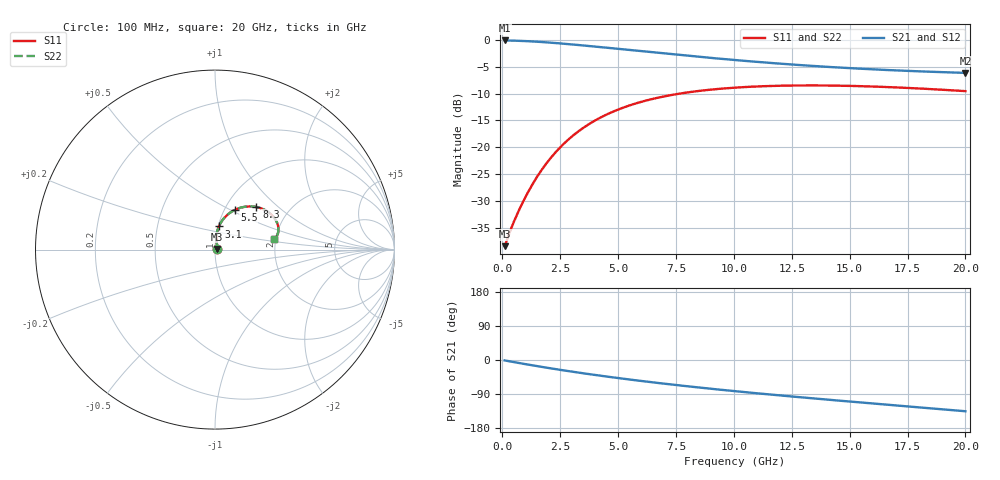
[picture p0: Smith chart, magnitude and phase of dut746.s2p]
! Touchstone file exported from HFSS 2024.1.0
!  File:  C:/UserFiles/LocalFiles/RDL_TSV_Batchsim/temp_RDL_TSV_746_1779896615.aedt
!  Generated:  11:58:22 PM May 27, 2026
!  Design:  RDL_TSV
!  Project:  temp_RDL_TSV_746_1779896615
!  Setup:  Setup1
!  Solution:  Sweep
! Variables:
!  dtsv = 6.9um
!  hbump = 3um
!  htsv = 50.21um
!  ldown = 380.02um
!  lrdl = 228.66um
!  p = 40
!  p1 = 42.73um
!  rhole = 10um
!  subl = 2054.7um
!  t = 450um
!  tdown = 4.31um
!  trdl = 3.46um
!  viad = 10um
!  wdown = 18.46um
!  wrdl = 17.9um
!  xbump = 18um
# GHz S MA R 50.000000
! Terminal data exported
! Port[1] = TM1_1_T1
! Port[2] = TM1_4_T1
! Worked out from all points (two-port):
!   200 points, 100 MHz to 20 GHz, reference 50 ohm
!   highest |S21| = -0.10 dB at 100 MHz (marker M1); lowest = -6.1 dB at 20 GHz (marker M2)
!   |S21| within 3 dB of the highest: start of sweep to 8.39 GHz
!   lowest |S11| = -38.4 dB at 100 MHz (marker M3), VSWR 1.02, Z = 51.2 + j0.369 ohm
!   |S11| at or under -10 dB: start of sweep to 7.661 GHz
!   |S22| runs from -38.4 to -8.5 dB; largest |S21 - S12| = 1e-14
!   S11 on the Smith chart (normalised r, x): 100 MHz: 1.02, +0.01; 3.1 GHz: 1.01, +0.27; 5.5 GHz: 1.11, +0.52; 8.3 GHz: 1.38, +0.73; 20 GHz: 1.95, +0.26
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0.1  0.01201 17.5  0.9884 -1.1  0.9884 -1.1  0.01201 17.5
! Gamma 0 0 0 0
! Port Impedance 50 0 50 0
0.4  0.01793 47.7  0.9855 -4.4  0.9855 -4.4  0.01793 47.7
0.7  0.02539 62.9  0.9811 -7.7  0.9811 -7.7  0.02539 62.9
1  0.03443 72.4  0.9752 -10.9  0.9752 -10.9  0.03443 72.5
1.4  0.04897 79.6  0.9651 -15.1  0.9651 -15.1  0.04897 79.6
1.8  0.06598 82.8  0.9528 -19.2  0.9528 -19.2  0.06599 82.8
2.2  0.08488 83.5  0.9389 -23.1  0.9389 -23.1  0.0849 83.6
2.6  0.105 82.7  0.9238 -26.9  0.9238 -26.9  0.105 82.8
3.1  0.131 80.5  0.904 -31.5  0.904 -31.5  0.131 80.5
3.5  0.1519 78.1  0.8877 -35.1  0.8877 -35.1  0.1519 78.1
3.9  0.1723 75.3  0.8713 -38.6  0.8713 -38.6  0.1724 75.4
4.4  0.1969 71.8  0.8506 -42.8  0.8506 -42.8  0.197 71.8
4.9  0.2201 68.1  0.8301 -46.8  0.8301 -46.8  0.2202 68.1
5.5  0.2457 63.7  0.8058 -51.5  0.8058 -51.5  0.2458 63.7
6.8  0.2921 54.8  0.7555 -61.1  0.7555 -61.1  0.2922 54.8
8.3  0.331 45.7  0.7027 -71.3  0.7027 -71.3  0.3311 45.7
10.1  0.36 36.5  0.6481 -82.6  0.6481 -82.6  0.3601 36.5
11.7  0.373 29.6  0.6077 -91.8  0.6077 -91.8  0.3731 29.6
13.4  0.3768 23.5  0.5726 -101.2  0.5726 -101.2  0.3769 23.6
15  0.3732 18.8  0.546 -109.6  0.546 -109.6  0.3732 18.8
16.7  0.3635 14.8  0.5235 -118.4  0.5235 -118.4  0.3634 14.9
20  0.3335 10.2  0.4932 -135.2  0.4932 -135.2  0.3333 10.3
